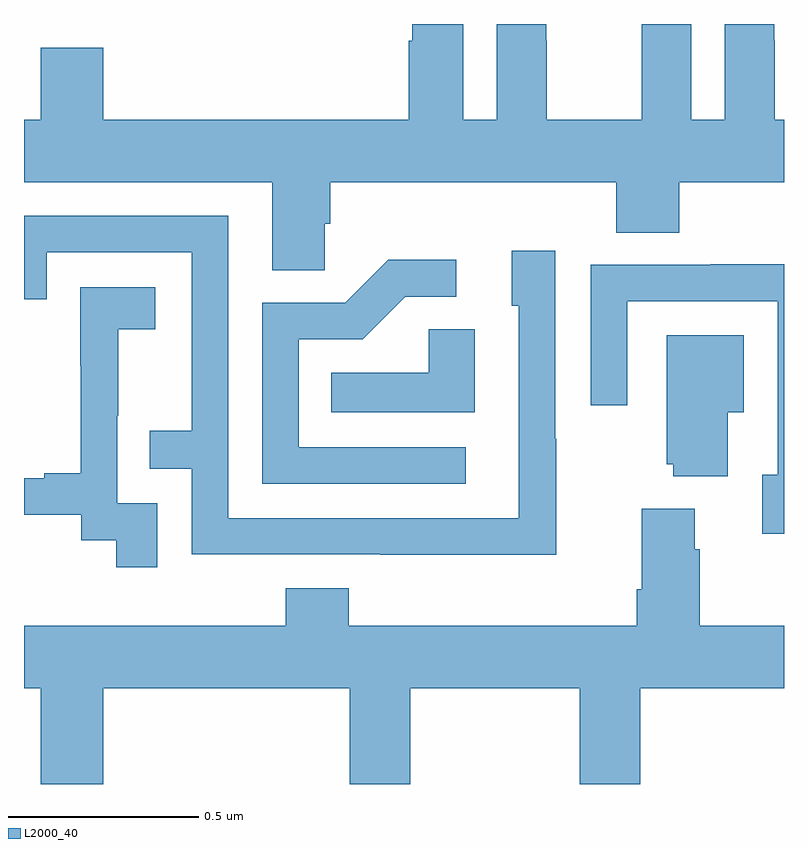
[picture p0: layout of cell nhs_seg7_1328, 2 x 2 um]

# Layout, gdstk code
import gdstk
lib = gdstk.Library(unit=1e-6, precision=1e-09)
def P(c, l, *ps):  # polygons
    for p in ps: c.add(gdstk.Polygon(p, *l))
L2000_40 = (2000, 40)

nhs_seg7_1328 = lib.new_cell('nhs_seg7_1328')
P(nhs_seg7_1328, L2000_40, [(129.792,1032.475),(129.806,1032.475),(129.806,1032.584),(130.559,1032.584),(130.559,1032.451),(130.724,1032.451),(130.724,1032.584),(131,1032.584),(131,1032.748),(130.975,1032.748),(130.975,1032.956),(130.974,1032.956),(130.974,1033),(130.844,1033),(130.844,1032.748),(130.756,1032.748),(130.756,1033),(130.626,1033),(130.626,1032.956),(130.625,1032.956),(130.625,1032.748),(130.375,1032.748),(130.375,1032.956),(130.374,1032.956),(130.374,1033),(130.244,1033),(130.244,1032.748),(130.156,1032.748),(130.156,1033),(130.022,1033),(130.022,1032.956),(130.013,1032.956),(130.013,1032.748),(129.208,1032.748),(129.208,1032.937),(129.044,1032.937),(129.044,1032.748),(129,1032.748),(129,1032.584),(129.653,1032.584),(129.653,1032.352),(129.792,1032.352)],
  [(130.401,1031.909),(130.398,1031.909),(130.398,1032.403),(130.283,1032.403),(130.283,1032.258),(130.302,1032.258),(130.302,1031.7),(129.537,1031.7),(129.537,1032.495),(129,1032.495),(129,1032.276),(129.06,1032.276),(129.06,1032.399),(129.441,1032.399),(129.441,1031.93),(129.331,1031.93),(129.331,1031.829),(129.441,1031.829),(129.441,1031.604),(129.937,1031.604),(129.937,1031.603),(130.401,1031.603)],
  [(130.162,1031.886),(129.723,1031.886),(129.723,1032.171),(129.892,1032.171),(130.003,1032.282),(130.138,1032.282),(130.138,1032.38),(129.959,1032.38),(129.846,1032.267),(129.627,1032.267),(129.627,1031.79),(130.162,1031.79)],
  [(131,1032.368),(130.807,1032.368),(130.807,1032.366),(130.491,1032.366),(130.491,1031.997),(130.587,1031.997),(130.587,1032.27),(130.983,1032.27),(130.983,1031.814),(130.943,1031.814),(130.943,1031.658),(131,1031.658)],
  [(129.351,1031.739),(129.246,1031.739),(129.246,1031.969),(129.248,1031.969),(129.248,1032.197),(129.346,1032.197),(129.346,1032.307),(129.148,1032.307),(129.148,1032.101),(129.149,1032.101),(129.149,1031.818),(129.053,1031.818),(129.053,1031.805),(129,1031.805),(129,1031.709),(129.15,1031.709),(129.15,1031.641),(129.243,1031.641),(129.243,1031.571),(129.351,1031.571)],
  [(130.186,1032.197),(130.065,1032.197),(130.065,1032.082),(129.808,1032.082),(129.808,1031.978),(130.186,1031.978)],
  [(130.852,1031.978),(130.894,1031.978),(130.894,1032.181),(130.691,1032.181),(130.691,1031.841),(130.709,1031.841),(130.709,1031.81),(130.852,1031.81)],
  [(129.208,1031.252),(129.857,1031.252),(129.857,1031),(130.017,1031),(130.017,1031.252),(130.462,1031.252),(130.462,1031),(130.622,1031),(130.622,1031.252),(131,1031.252),(131,1031.416),(130.778,1031.416),(130.778,1031.618),(130.765,1031.618),(130.765,1031.725),(130.625,1031.725),(130.625,1031.512),(130.613,1031.512),(130.613,1031.416),(129.854,1031.416),(129.854,1031.515),(129.689,1031.515),(129.689,1031.416),(129,1031.416),(129,1031.252),(129.044,1031.252),(129.044,1031),(129.208,1031)])

lib.write_gds('nhs_seg7_1328.gds')
